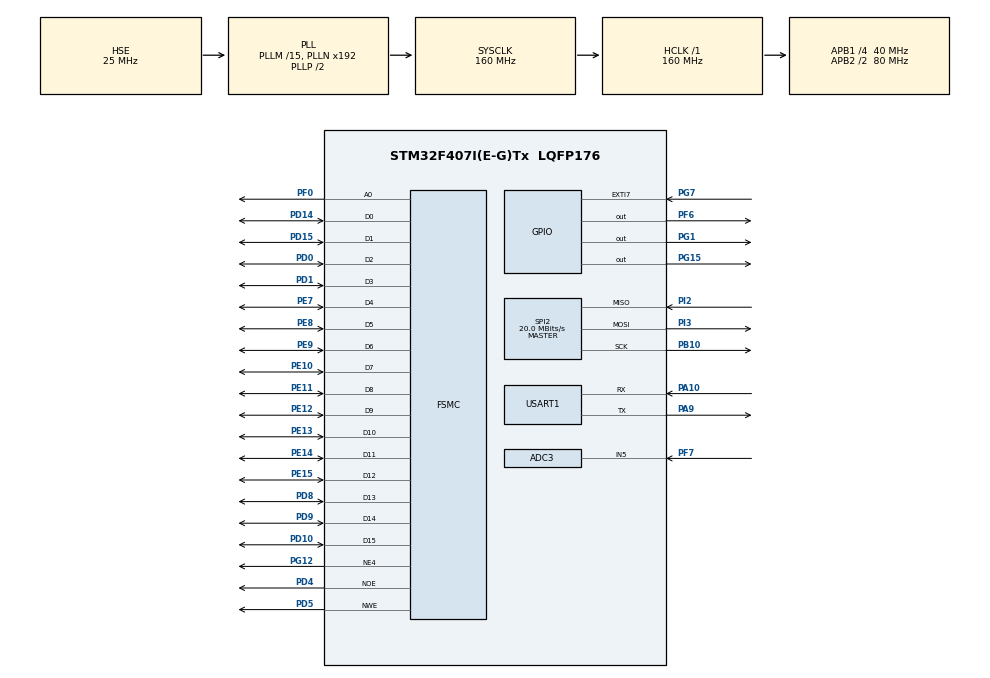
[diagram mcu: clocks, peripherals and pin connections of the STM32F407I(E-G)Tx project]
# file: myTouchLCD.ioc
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ADC3.Channel-0\#ChannelRegularConversion=ADC_CHANNEL_5
ADC3.NbrOfConversionFlag=1
ADC3.Rank-0\#ChannelRegularConversion=1
ADC3.SamplingTime-0\#ChannelRegularConversion=ADC_SAMPLETIME_3CYCLES
Mcu.Family=STM32F4
Mcu.Name=STM32F407I(E-G)Tx
Mcu.Package=LQFP176
NVIC.PriorityGroup=NVIC_PRIORITYGROUP_4
NVIC.USART1_IRQn=true\:0\:0\:false\:false\:true\:true\:true
PA10.Mode=Asynchronous
PA10.Signal=USART1_RX
PA13.Mode=Serial_Wire
PA13.Signal=SYS_JTMS-SWDIO
PA14.Mode=Serial_Wire
PA14.Signal=SYS_JTCK-SWCLK
PA9.Mode=Asynchronous
PA9.Signal=USART1_TX
PB10.Mode=Full_Duplex_Master
PB10.Signal=SPI2_SCK
PC14-OSC32_IN.Mode=LSE-External-Clock-Source
PC14-OSC32_IN.Signal=RCC_OSC32_IN
PC15-OSC32_OUT.Mode=LSE-External-Clock-Source
PC15-OSC32_OUT.Signal=RCC_OSC32_OUT
PD0.Signal=FSMC_D2_DA2
PD1.Signal=FSMC_D3_DA3
PD10.Signal=FSMC_D15_DA15
PD14.Signal=FSMC_D0_DA0
PD15.Signal=FSMC_D1_DA1
PD4.Signal=FSMC_NOE
PD5.Signal=FSMC_NWE
PD8.Signal=FSMC_D13_DA13
PD9.Signal=FSMC_D14_DA14
PE10.Signal=FSMC_D7_DA7
PE11.Signal=FSMC_D8_DA8
PE12.Signal=FSMC_D9_DA9
PE13.Signal=FSMC_D10_DA10
PE14.Signal=FSMC_D11_DA11
PE15.Signal=FSMC_D12_DA12
PE7.Signal=FSMC_D4_DA4
PE8.Signal=FSMC_D5_DA5
PE9.Signal=FSMC_D6_DA6
PF0.Signal=FSMC_A0
PF6.Signal=GPIO_Output
PF7.Mode=IN5
PF7.Signal=ADC3_IN5
PG1.Signal=GPIO_Output
PG12.Mode=NorPsramChipSelect4_1
PG12.Signal=FSMC_NE4
PG15.Signal=GPIO_Output
PG7.GPIO_ModeDefaultEXTI=GPIO_MODE_IT_FALLING
PG7.Signal=GPXTI7
PH0-OSC_IN.Mode=HSE-External-Oscillator
PH0-OSC_IN.Signal=RCC_OSC_IN
PH1-OSC_OUT.Mode=HSE-External-Oscillator
PH1-OSC_OUT.Signal=RCC_OSC_OUT
PI2.Mode=Full_Duplex_Master
PI2.Signal=SPI2_MISO
PI3.Mode=Full_Duplex_Master
PI3.Signal=SPI2_MOSI
ProjectManager.HeapSize=0x200
ProjectManager.StackSize=0x400
ProjectManager.TargetToolchain=MDK-ARM V5
RCC.48MHZClocksFreq_Value=80000000
RCC.AHBFreq_Value=160000000
RCC.APB1CLKDivider=RCC_HCLK_DIV4
RCC.APB1Freq_Value=40000000
RCC.APB1TimFreq_Value=80000000
RCC.APB2CLKDivider=RCC_HCLK_DIV2
RCC.APB2Freq_Value=80000000
RCC.APB2TimFreq_Value=160000000
RCC.CortexFreq_Value=160000000
RCC.HCLKFreq_Value=160000000
RCC.HSE_VALUE=25000000
RCC.HSI_VALUE=16000000
RCC.LSE_VALUE=32768
RCC.PLLM=15
RCC.PLLSourceVirtual=RCC_PLLSOURCE_HSE
RCC.SYSCLKFreq_VALUE=160000000
RCC.SYSCLKSource=RCC_SYSCLKSOURCE_PLLCLK
RCC.VCOOutputFreq_Value=320000000
SH.FSMC_A0.0=FSMC_A0,A0_1
SH.FSMC_D0_DA0.0=FSMC_D0,16b-d1
SH.FSMC_D10_DA10.0=FSMC_D10,16b-d1
SH.FSMC_D11_DA11.0=FSMC_D11,16b-d1
SH.FSMC_D12_DA12.0=FSMC_D12,16b-d1
SH.FSMC_D13_DA13.0=FSMC_D13,16b-d1
SH.FSMC_D14_DA14.0=FSMC_D14,16b-d1
SH.FSMC_D15_DA15.0=FSMC_D15,16b-d1
SH.FSMC_D1_DA1.0=FSMC_D1,16b-d1
SH.FSMC_D2_DA2.0=FSMC_D2,16b-d1
SH.FSMC_D3_DA3.0=FSMC_D3,16b-d1
SH.FSMC_D4_DA4.0=FSMC_D4,16b-d1
SH.FSMC_D5_DA5.0=FSMC_D5,16b-d1
SH.FSMC_D6_DA6.0=FSMC_D6,16b-d1
SH.FSMC_D7_DA7.0=FSMC_D7,16b-d1
SH.FSMC_D8_DA8.0=FSMC_D8,16b-d1
SH.FSMC_D9_DA9.0=FSMC_D9,16b-d1
SH.FSMC_NOE.0=FSMC_NOE,Lcd1
SH.FSMC_NWE.0=FSMC_NWE,Lcd1
SPI2.BaudRatePrescaler=SPI_BAUDRATEPRESCALER_2
SPI2.CalculateBaudRate=20.0 MBits/s
SPI2.Direction=SPI_DIRECTION_2LINES
SPI2.Mode=SPI_MODE_MASTER
SPI2.VirtualType=VM_MASTER
USART1.VirtualMode=VM_ASYNC
board=custom

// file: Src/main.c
/* USER CODE BEGIN Header */
/**
  ******************************************************************************
  * @file           : main.c
  * @brief          : Main program body
  ******************************************************************************
  * @attention
  *
  * <h2><center>&copy; Copyright (c) 2019 STMicroelectronics.
  * All rights reserved.</center></h2>
  *
  * This software component is licensed by ST under BSD 3-Clause license,
  * the "License"; You may not use this file except in compliance with the
  * License. You may obtain a copy of the License at:
  *                        opensource.org/licenses/BSD-3-Clause
  *
  ******************************************************************************
  */
/* USER CODE END Header */

#include "main.h"
#include "adc.h"
#include "spi.h"
#include "usart.h"
#include "gpio.h"
#include "fsmc.h"

/* USER CODE BEGIN Includes */
#include "lcd.h"
#include "Touch.h"
#include "stdio.h"
#include "dht11.h"
#include "delay.h"

/* USER CODE END Includes */

/* USER CODE BEGIN PV */
/* Private variables ---------------------------------------------------------*/
extern uint8_t CMD_X[3];
extern uint8_t CMD_Y[3];
extern uint8_t SPI_RE[3];
extern uint8_t Cmd_Buf[15];
extern uint8_t Cmdcont;
int btn1=0;
int btn2=0;
int btn3=0;
extern const unsigned char bg[];
uint8_t aaa[16] = {0};
uint8_t recv_end_flag = 0;
uint8_t rx_len = 0;
uint8_t Dowm_flag = 0;  //1 表示已经按下
uint16_t line_x = 0;       	//存储当前坐标
uint16_t line_y = 0;
uint16_t Date = 0;
uint8_t j = 0;
#define DE_A  		HAL_GPIO_WritePin(GPIOD, GPIO_PIN_12,GPIO_PIN_SET);HAL_GPIO_WritePin(GPIOH, GPIO_PIN_13,GPIO_PIN_RESET);HAL_GPIO_WritePin(GPIOE, GPIO_PIN_4,GPIO_PIN_RESET);HAL_GPIO_WritePin(GPIOE, GPIO_PIN_6,GPIO_PIN_RESET)
#define DE_B  		HAL_GPIO_WritePin(GPIOD, GPIO_PIN_12,GPIO_PIN_RESET);HAL_GPIO_WritePin(GPIOH, GPIO_PIN_13,GPIO_PIN_SET);HAL_GPIO_WritePin(GPIOE, GPIO_PIN_4,GPIO_PIN_RESET);HAL_GPIO_WritePin(GPIOE, GPIO_PIN_6,GPIO_PIN_RESET)
#define DE_C    	HAL_GPIO_WritePin(GPIOD, GPIO_PIN_12,GPIO_PIN_RESET);HAL_GPIO_WritePin(GPIOH, GPIO_PIN_13,GPIO_PIN_RESET);HAL_GPIO_WritePin(GPIOE, GPIO_PIN_4,GPIO_PIN_SET);HAL_GPIO_WritePin(GPIOE, GPIO_PIN_6,GPIO_PIN_RESET)
#define DE_D      HAL_GPIO_WritePin(GPIOD, GPIO_PIN_12,GPIO_PIN_RESET);HAL_GPIO_WritePin(GPIOH, GPIO_PIN_13,GPIO_PIN_RESET);HAL_GPIO_WritePin(GPIOE, GPIO_PIN_4,GPIO_PIN_RESET);HAL_GPIO_WritePin(GPIOE, GPIO_PIN_6,GPIO_PIN_SET)
#define DE_AB  		HAL_GPIO_WritePin(GPIOD, GPIO_PIN_12,GPIO_PIN_SET);HAL_GPIO_WritePin(GPIOH, GPIO_PIN_13,GPIO_PIN_SET);HAL_GPIO_WritePin(GPIOE, GPIO_PIN_4,GPIO_PIN_RESET);HAL_GPIO_WritePin(GPIOE, GPIO_PIN_6,GPIO_PIN_RESET)
#define DE_BC  		HAL_GPIO_WritePin(GPIOD, GPIO_PIN_12,GPIO_PIN_RESET);HAL_GPIO_WritePin(GPIOH, GPIO_PIN_13,GPIO_PIN_SET);HAL_GPIO_WritePin(GPIOE, GPIO_PIN_4,GPIO_PIN_SET);HAL_GPIO_WritePin(GPIOE, GPIO_PIN_6,GPIO_PIN_RESET)
#define DE_CD    	HAL_GPIO_WritePin(GPIOD, GPIO_PIN_12,GPIO_PIN_RESET);HAL_GPIO_WritePin(GPIOH, GPIO_PIN_13,GPIO_PIN_RESET);HAL_GPIO_WritePin(GPIOE, GPIO_PIN_4,GPIO_PIN_SET);HAL_GPIO_WritePin(GPIOE, GPIO_PIN_6,GPIO_PIN_SET)
#define DE_DA     HAL_GPIO_WritePin(GPIOD, GPIO_PIN_12,GPIO_PIN_SET);HAL_GPIO_WritePin(GPIOH, GPIO_PIN_13,GPIO_PIN_RESET);HAL_GPIO_WritePin(GPIOE, GPIO_PIN_4,GPIO_PIN_RESET);HAL_GPIO_WritePin(GPIOE, GPIO_PIN_6,GPIO_PIN_SET)
/* USER CODE END PV */
void SystemClock_Config(void);
/* USER CODE BEGIN PFP */
/* Private function prototypes -----------------------------------------------*/
void lcd_init(void);
void Touch_Init(void);
void motor1(void);
void motor2(void);
void hint(void);
void lcd_clear(unsigned short Color);
void LCD_DrawPicture(uint16_t StartX,uint16_t StartY,uint16_t Xend,uint16_t Yend,uint8_t *pic);
void  Lcd_Show();
void btn();
uint16_t Get_Adc_Average(ADC_HandleTypeDef* hadc,uint8_t times);
/* USER CODE END PFP */
/* USER CODE BEGIN 0 */
Pen_Holder Pen_Point;	/* 定义笔实体 */
uint16_t Light=0;
uint16_t Get_Adc_Average(ADC_HandleTypeDef* hadc,uint8_t times);
/* USER CODE END 0 */

int main(void)
{

  /* MCU Configuration--------------------------------------------------------*/

  /* Reset of all peripherals, Initializes the Flash interface and the Systick. */
  HAL_Init();

  /* Configure the system clock */
  SystemClock_Config();

  /* Initialize all configured peripherals */
  MX_GPIO_Init();
  MX_FSMC_Init();
  MX_SPI2_Init();
  MX_USART1_UART_Init();
  MX_ADC3_Init();
  /* USER CODE BEGIN 2 */
	delay_init(160);
	lcd_init();
	printf("=====init======\n");
	LCD_DrawPicture(0,0,480,282,(uint8_t *)bg);		//480、272为图片的高度和宽度
	uint8_t value[4] ;
	value[0] = ' ';
	value[1] = ' ';
	value[2] = ' ';
	value[3] = '\0';
	LCD_ShowString(280, 80,value, Red, Red);
	LCD_ShowString(280, 140,value, Red, Red);
	LCD_ShowString(280, 200,value, Red, Red);
	printf("init ok!!!!!!\n");
  /* USER CODE END 2 */

  /* Infinite loop */
  while (1)
  {
    /* USER CODE BEGIN 3 */
    uint16_t Light_A;
    uint16_t Light_B;
	  HAL_ADC_Start(&hadc3);
		HAL_ADC_PollForConversion(&hadc3,10);
		Light_A=Get_Adc_Average(&hadc3,10);
		Light_B=Light_A*3300/4096;
		Light=50000-500/33*Light_B;
		if(btn1)
		printf("Light=%d\n",Light);
		if(Light<20000&&btn3)
		motor2();
		else if(Light>30050&&btn3)
		motor1();
		else 		HAL_GPIO_WritePin(GPIOF,GPIO_PIN_10,GPIO_PIN_SET);
	  HAL_Delay(200);
	  DHT11_TEST();
		if(ucharT_data_H<20&&btn2)
		hint();
		if(ucharT_data_H>27&&btn2)
		hint();
		if(btn1)
	  printf("Temp=%d\n",ucharT_data_H);
		if(btn1)
	  printf("Humidity=%d\n",ucharRH_data_H);
	  Lcd_Show();
		HAL_Delay(200);
		if( Pen_Point.Key_Sta==Key_Down )     //触摸屏被按下
		{
		HAL_Delay(20);
		if(!HAL_GPIO_ReadPin(GPIOG,GPIO_PIN_7))
		{
		HAL_NVIC_DisableIRQ(EXTI9_5_IRQn);	//关闭中断
		if( Convert_Pos() ) 			 //存放点击的X,Y的坐标值	成功转换 返回1 失败返回0
		{
		line_x = Pen_Point.X0;
		line_y = Pen_Point.Y0;
		HAL_Delay(200);
		btn();
		Pen_Point.X0 = 0;
	  Pen_Point.Y0 = 0;
		Pen_Point.Key_Sta=Key_Up;  			//处理数据后, 回复到没有按下的状态
		}
		Pen_Point.Key_Sta=Key_Up;  			//处理数据后, 回复到没有按下的状态
		HAL_NVIC_EnableIRQ(EXTI9_5_IRQn);				     //开启中断
		}
		else
		{
		HAL_NVIC_EnableIRQ(EXTI9_5_IRQn);
		Pen_Point.Key_Sta=Key_Up;
		continue ;
		}
		}
		/********MENU HANDLER********/

		/****************************/
  }
  /* USER CODE END 3 */
}

void hint(){
	for(int j = 0;j<=300;j++){

HAL_GPIO_WritePin(GPIOG,GPIO_PIN_6,GPIO_PIN_SET);//打开蜂鸣器
		HAL_Delay(1);
		HAL_GPIO_WritePin(GPIOG,GPIO_PIN_6,GPIO_PIN_RESET);//关闭蜂鸣器
		HAL_Delay(1);

	}

}
void motor1(){
		HAL_GPIO_WritePin(GPIOF,GPIO_PIN_10,GPIO_PIN_SET);
for(int j = 0;j<=30;j++){
//DE_A;
	//HAL_Delay(100);//可进行调速，延时时间不能太短
	DE_AB;
	HAL_Delay(1);
	//DE_B;
	//HAL_Delay(1);
	DE_BC;
	HAL_Delay(1);
	//DE_C;
	//HAL_Delay(1);
	DE_CD;
	HAL_Delay(1);
	//DE_D;
	//HAL_Delay(1);
	DE_DA;
	HAL_Delay(1);}
}
void motor2(){
		HAL_GPIO_WritePin(GPIOF,GPIO_PIN_10,GPIO_PIN_RESET);
for(int j = 0;j<=30;j++){
	DE_A;
	HAL_Delay(1);
	DE_DA;
	HAL_Delay(1);
	DE_D;
	HAL_Delay(1);
	DE_CD;
	HAL_Delay(1);
		DE_C;
	HAL_Delay(1);
			DE_BC;
	HAL_Delay(1);
				DE_B;
	HAL_Delay(1);
					DE_AB;
	HAL_Delay(1);
						DE_A;
	HAL_Delay(1);
	//
}

}
void SystemClock_Config(void)
{
  RCC_OscInitTypeDef RCC_OscInitStruct = {0};
  RCC_ClkInitTypeDef RCC_ClkInitStruct = {0};

  /** Configure the main internal regulator output voltage
  */
  __HAL_RCC_PWR_CLK_ENABLE();
  __HAL_PWR_VOLTAGESCALING_CONFIG(PWR_REGULATOR_VOLTAGE_SCALE1);
  /** Initializes the CPU, AHB and APB busses clocks
  */
  RCC_OscInitStruct.OscillatorType = RCC_OSCILLATORTYPE_HSE;
  RCC_OscInitStruct.HSEState = RCC_HSE_ON;
  RCC_OscInitStruct.PLL.PLLState = RCC_PLL_ON;
  RCC_OscInitStruct.PLL.PLLSource = RCC_PLLSOURCE_HSE;
  RCC_OscInitStruct.PLL.PLLM = 15;
  RCC_OscInitStruct.PLL.PLLN = 192;
  RCC_OscInitStruct.PLL.PLLP = RCC_PLLP_DIV2;
  RCC_OscInitStruct.PLL.PLLQ = 4;
  if (HAL_RCC_OscConfig(&RCC_OscInitStruct) != HAL_OK)
  {
    Error_Handler();
  }
  /** Initializes the CPU, AHB and APB busses clocks
  */
  RCC_ClkInitStruct.ClockType = RCC_CLOCKTYPE_HCLK|RCC_CLOCKTYPE_SYSCLK
                              |RCC_CLOCKTYPE_PCLK1|RCC_CLOCKTYPE_PCLK2;
  RCC_ClkInitStruct.SYSCLKSource = RCC_SYSCLKSOURCE_PLLCLK;
  RCC_ClkInitStruct.AHBCLKDivider = RCC_SYSCLK_DIV1;
  RCC_ClkInitStruct.APB1CLKDivider = RCC_HCLK_DIV4;
  RCC_ClkInitStruct.APB2CLKDivider = RCC_HCLK_DIV2;

  if (HAL_RCC_ClockConfig(&RCC_ClkInitStruct, FLASH_LATENCY_5) != HAL_OK)
  {
    Error_Handler();
  }
}

/* USER CODE BEGIN 4 */
int fputc(int ch, FILE *f)
{
	while((USART1->SR&0X40)==0);//循环发送,直到发送完毕
	USART1->DR = (uint8_t) ch;
	return ch;
}

void  Lcd_Show()
{

	uint8_t value[4] ;

		value[0] = (uint8_t)(Light%100000/10000) + 48;
		value[1] = (uint8_t)(Light%10000/1000) + 48;
		value[2] = (uint8_t)(Light%1000/100) + 48;
		value[3] = '\0';
		LCD_ShowString(125, 204,value, Black, White);
		value[0] = ' ';
		value[1] = (uint8_t)(ucharT_data_H%100/10) + 48;
		value[2] = (uint8_t)(ucharT_data_H%10) + 48;
		value[3] = '\0';
		LCD_ShowString(125, 80,value, Black, White);
		value[0] = ' ';
		value[1] = (uint8_t)(ucharRH_data_H%100/10) + 48;
		value[2] = (uint8_t)(ucharRH_data_H%10) + 48;
		value[3] = '\0';
		LCD_ShowString(125, 142,value, Black, White);

}

void btn(){
uint8_t value[4] ;
if(line_x <424&&line_x>310){
	if(line_y>67.68 && line_y<112.8){if(btn1==1){btn1=0;
		value[0] = ' ';
		value[1] = ' ';
		value[2] = ' ';
		value[3] = '\0';
		LCD_ShowString(280, 80,value, Red, Red);
	}
	else {btn1=1;
	value[0] = ' ';
		value[1] = ' ';
		value[2] = ' ';
		value[3] = '\0';
		LCD_ShowString(280, 80,value, Green, Green);
	}
	}
	if(line_y>126.9 && line_y<172.02){if(btn2==1){btn2=0;
		value[0] = ' ';
		value[1] = ' ';
		value[2] = ' ';
		value[3] = '\0';
		LCD_ShowString(280, 140,value, Red, Red);
	}
	else {btn2=1;
	value[0] = ' ';
		value[1] = ' ';
		value[2] = ' ';
		value[3] = '\0';
		LCD_ShowString(280, 140,value, Green, Green);
	}}
	if(line_y>172 && line_y<231.24){if(btn3==1){btn3=0;
		value[0] = ' ';
		value[1] = ' ';
		value[2] = ' ';
		value[3] = '\0';
		LCD_ShowString(280,200,value, Red, Red);
	}
	else {btn3=1;
	value[0] = ' ';
		value[1] = ' ';
		value[2] = ' ';
		value[3] = '\0';
		LCD_ShowString(280, 200,value, Green, Green);
	}}
	printf("btn is down  \n btn1 :%d  btn2:%d  btn3: %d  \n",btn1,btn2,btn3);

}

}
/* USER CODE END 4 */

void Error_Handler(void)
{
}

/************************ (C) COPYRIGHT STMicroelectronics *****END OF FILE****/
